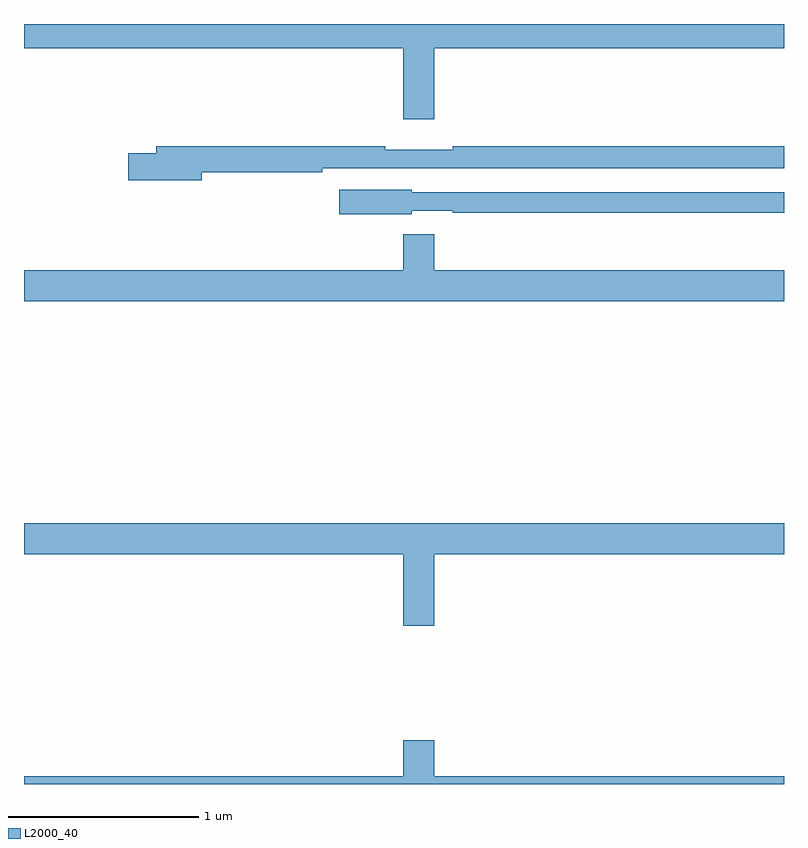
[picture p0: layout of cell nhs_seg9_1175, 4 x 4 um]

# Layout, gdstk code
import gdstk
lib = gdstk.Library(unit=1e-6, precision=1e-09)
def P(c, l, *ps):  # polygons
    for p in ps: c.add(gdstk.Polygon(p, *l))
L2000_40 = (2000, 40)

nhs_seg9_1175 = lib.new_cell('nhs_seg9_1175')
P(nhs_seg9_1175, L2000_40, [(177.16,1244.372),(179,1244.372),(179,1244.5),(175,1244.5),(175,1244.372),(176.996,1244.372),(176.996,1243.998),(177.16,1243.998)],
  [(175.936,1243.72),(176.57,1243.72),(176.57,1243.74),(179,1243.74),(179,1243.856),(177.256,1243.856),(177.256,1243.837),(176.9,1243.837),(176.9,1243.856),(175.697,1243.856),(175.697,1243.82),(175.548,1243.82),(175.548,1243.678),(175.936,1243.678)],
  [(177.042,1243.518),(177.256,1243.518),(177.256,1243.506),(179,1243.506),(179,1243.614),(177.042,1243.614),(177.042,1243.627),(176.658,1243.627),(176.658,1243.498),(177.042,1243.498)],
  [(179,1243.204),(177.16,1243.204),(177.16,1243.393),(176.996,1243.393),(176.996,1243.204),(175,1243.204),(175,1243.04),(179,1243.04)],
  [(177.16,1241.708),(179,1241.708),(179,1241.872),(175,1241.872),(175,1241.708),(176.996,1241.708),(176.996,1241.334),(177.16,1241.334)],
  [(179,1240.54),(177.16,1240.54),(177.16,1240.729),(176.996,1240.729),(176.996,1240.54),(175,1240.54),(175,1240.5),(179,1240.5)])

lib.write_gds('nhs_seg9_1175.gds')
